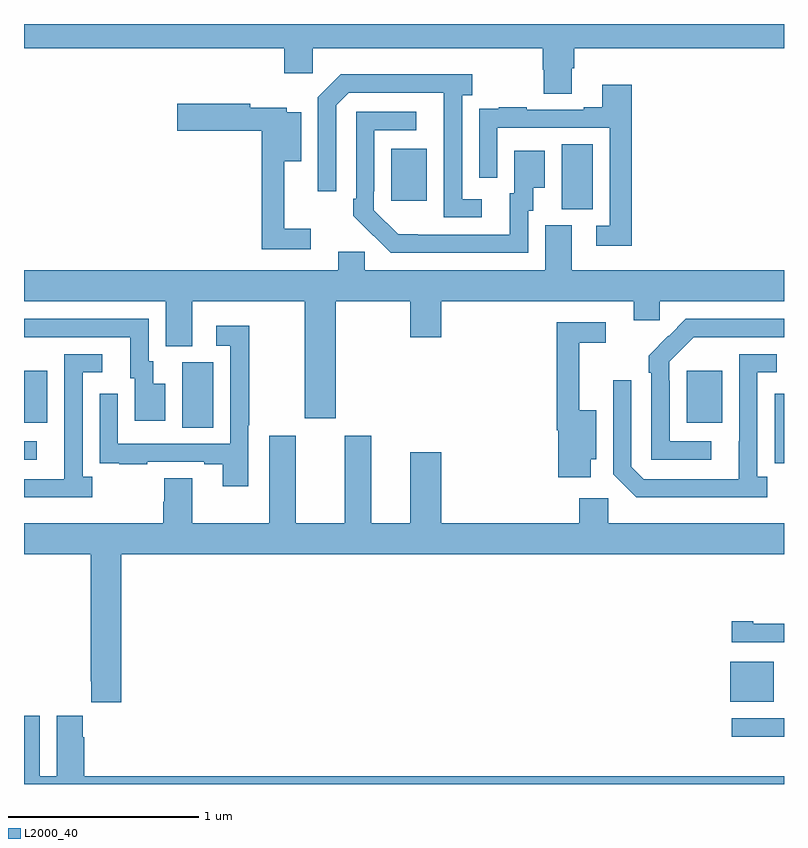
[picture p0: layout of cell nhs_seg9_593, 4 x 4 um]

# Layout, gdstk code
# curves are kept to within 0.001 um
import gdstk
lib = gdstk.Library(unit=1e-6, precision=1e-09)
def R(c, l, rs):  # rectangles x0, y0, x1, y1
    for r in rs: c.add(gdstk.rectangle(r[:2], r[2:], *l))
def P(c, l, *ps):  # polygons
    for p in ps: c.add(gdstk.Polygon(p, *l))
L2000_40 = (2000, 40)

nhs_seg9_593 = lib.new_cell('nhs_seg9_593')
R(nhs_seg9_593, L2000_40, [(142.725,1240.749,143,1240.845), (142.718,1240.934,142.945,1241.143), (139,1242.207,139.066,1242.303), (139.832,1242.376,139.996,1242.72), (139,1242.401,139.123,1242.676), (142.487,1242.401,142.675,1242.676), (141.83,1243.525,141.994,1243.868), (140.933,1243.569,141.121,1243.843)])
P(nhs_seg9_593, L2000_40, [(141.883,1244.266),(141.896,1244.266),(141.896,1244.372),(143,1244.372),(143,1244.5),(139,1244.5),(139,1244.372),(140.369,1244.372),(140.369,1244.241),(140.52,1244.241),(140.52,1244.372),(141.731,1244.372),(141.731,1244.259),(141.736,1244.259),(141.736,1244.134),(141.883,1244.134)],
  [(141.409,1243.578),(141.306,1243.578),(141.306,1244.126),(141.358,1244.126),(141.358,1244.236),(140.668,1244.236),(140.547,1244.115),(140.547,1243.62),(140.643,1243.62),(140.643,1244.073),(140.709,1244.139),(141.209,1244.139),(141.21,1243.482),(141.409,1243.482)],
  [(142.199,1244.179),(142.043,1244.179),(142.043,1244.062),(141.947,1244.062),(141.947,1244.049),(141.647,1244.049),(141.647,1244.062),(141.499,1244.062),(141.499,1244.055),(141.397,1244.055),(141.397,1243.946),(141.396,1243.946),(141.396,1243.692),(141.492,1243.692),(141.492,1243.953),(142.083,1243.953),(142.083,1243.437),(142.011,1243.437),(142.011,1243.332),(142.199,1243.332)],
  [(140.509,1243.423),(140.369,1243.423),(140.369,1243.778),(140.458,1243.778),(140.458,1244.035),(140.382,1244.035),(140.382,1244.059),(140.19,1244.059),(140.19,1244.079),(139.806,1244.079),(139.806,1243.937),(140.251,1243.937),(140.251,1243.314),(140.509,1243.314)],
  [(141.654,1243.518),(141.679,1243.518),(141.679,1243.637),(141.742,1243.637),(141.742,1243.834),(141.581,1243.834),(141.581,1243.608),(141.557,1243.608),(141.557,1243.392),(140.97,1243.393),(140.841,1243.521),(140.841,1243.621),(140.844,1243.621),(140.844,1243.941),(141.064,1243.941),(141.064,1244.037),(140.748,1244.037),(140.748,1243.579),(140.733,1243.579),(140.733,1243.491),(140.93,1243.296),(141.654,1243.296)],
  [(140.641,1243.04),(141.032,1243.04),(141.032,1242.852),(141.196,1242.852),(141.196,1243.04),(142.208,1243.04),(142.208,1242.942),(142.347,1242.942),(142.347,1243.04),(143,1243.04),(143,1243.204),(141.883,1243.204),(141.883,1243.44),(141.743,1243.44),(141.743,1243.204),(140.793,1243.204),(140.793,1243.302),(140.654,1243.302),(140.654,1243.204),(139,1243.204),(139,1243.04),(139.745,1243.04),(139.745,1242.805),(139.885,1242.805),(139.885,1243.04),(140.477,1243.04),(140.477,1242.426),(140.641,1242.426)],
  [(139.744,1242.607),(139.681,1242.607),(139.681,1242.726),(139.656,1242.726),(139.656,1242.948),(139,1242.948),(139,1242.852),(139.559,1242.852),(139.559,1242.636),(139.583,1242.636),(139.583,1242.411),(139.744,1242.411)],
  [(142.618,1242.303),(142.398,1242.303),(142.398,1242.623),(142.395,1242.623),(142.395,1242.723),(142.524,1242.852),(143,1242.852),(143,1242.948),(142.484,1242.948),(142.287,1242.753),(142.287,1242.665),(142.302,1242.665),(142.302,1242.207),(142.618,1242.207)],
  [(141.982,1242.209),(142.012,1242.209),(142.012,1242.466),(141.923,1242.466),(141.923,1242.822),(142.063,1242.822),(142.063,1242.93),(141.805,1242.93),(141.805,1242.362),(141.812,1242.362),(141.812,1242.114),(141.982,1242.114)],
  [(140.181,1242.388),(140.186,1242.388),(140.186,1242.913),(140.013,1242.913),(140.013,1242.807),(140.085,1242.807),(140.085,1242.291),(139.494,1242.291),(139.494,1242.553),(139.398,1242.553),(139.398,1242.298),(139.399,1242.298),(139.399,1242.189),(139.501,1242.189),(139.501,1242.183),(139.649,1242.183),(139.649,1242.195),(139.949,1242.195),(139.949,1242.183),(140.045,1242.183),(140.045,1242.066),(140.181,1242.066)],
  [(142.912,1242.118),(142.86,1242.118),(142.86,1242.666),(142.963,1242.666),(142.963,1242.762),(142.764,1242.762),(142.763,1242.105),(142.263,1242.105),(142.197,1242.171),(142.197,1242.625),(142.101,1242.625),(142.101,1242.129),(142.222,1242.008),(142.912,1242.008)],
  [(139.36,1242.118),(139.308,1242.118),(139.308,1242.666),(139.411,1242.666),(139.411,1242.762),(139.212,1242.762),(139.212,1242.305),(139.211,1242.305),(139.211,1242.105),(139,1242.105),(139,1242.008),(139.36,1242.008)],
  [(143,1242.553),(142.95,1242.553),(142.95,1242.298),(142.951,1242.298),(142.951,1242.189),(143,1242.189)],
  [(139.511,1241.708),(143,1241.708),(143,1241.872),(142.074,1241.872),(142.074,1242.004),(141.923,1242.004),(141.923,1241.872),(141.196,1241.872),(141.196,1242.247),(141.032,1242.247),(141.032,1241.872),(140.827,1241.872),(140.827,1242.334),(140.687,1242.334),(140.687,1241.872),(140.431,1241.872),(140.431,1242.334),(140.291,1242.334),(140.291,1241.872),(139.885,1241.872),(139.885,1242.11),(139.738,1242.11),(139.738,1241.985),(139.733,1241.985),(139.733,1241.872),(139,1241.872),(139,1241.708),(139.351,1241.708),(139.351,1241.041),(139.355,1241.041),(139.355,1240.929),(139.511,1240.929)],
  [(143,1241.343),(142.837,1241.343),(142.837,1241.356),(142.725,1241.356),(142.725,1241.247),(143,1241.247)],
  [(143,1240.54),(139.316,1240.54),(139.316,1240.745),(139.309,1240.745),(139.309,1240.858),(139.172,1240.858),(139.172,1240.54),(139.084,1240.54),(139.084,1240.858),(139,1240.858),(139,1240.5),(143,1240.5)])

lib.write_gds('nhs_seg9_593.gds')
